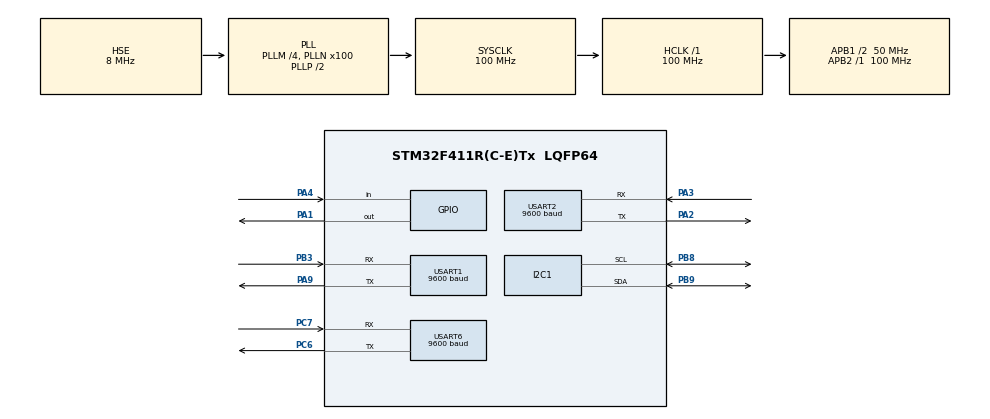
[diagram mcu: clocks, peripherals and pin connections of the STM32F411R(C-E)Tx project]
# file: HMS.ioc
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Mcu.Family=STM32F4
Mcu.Name=STM32F411R(C-E)Tx
Mcu.Package=LQFP64
NVIC.PriorityGroup=NVIC_PRIORITYGROUP_0
NVIC.USART2_IRQn=true\:0\:0\:false\:false\:true\:true\:true
NVIC.USART6_IRQn=true\:0\:0\:false\:false\:true\:true\:true
PA1.Signal=GPIO_Output
PA2.Mode=Asynchronous
PA2.Signal=USART2_TX
PA3.Mode=Asynchronous
PA3.Signal=USART2_RX
PA4.Signal=GPIO_Input
PA9.Mode=Asynchronous
PA9.Signal=USART1_TX
PB3.Mode=Asynchronous
PB3.Signal=USART1_RX
PB8.Mode=I2C
PB8.Signal=I2C1_SCL
PB9.Mode=I2C
PB9.Signal=I2C1_SDA
PC6.Mode=Asynchronous
PC6.Signal=USART6_TX
PC7.Mode=Asynchronous
PC7.Signal=USART6_RX
PH0\ -\ OSC_IN.Mode=HSE-External-Oscillator
PH0\ -\ OSC_IN.Signal=RCC_OSC_IN
PH1\ -\ OSC_OUT.Mode=HSE-External-Oscillator
PH1\ -\ OSC_OUT.Signal=RCC_OSC_OUT
ProjectManager.HeapSize=0x200
ProjectManager.StackSize=0x400
ProjectManager.TargetToolchain=STM32CubeIDE
RCC.48MHZClocksFreq_Value=50000000
RCC.AHBFreq_Value=100000000
RCC.APB1CLKDivider=RCC_HCLK_DIV2
RCC.APB1Freq_Value=50000000
RCC.APB1TimFreq_Value=100000000
RCC.APB2Freq_Value=100000000
RCC.APB2TimFreq_Value=100000000
RCC.CortexFreq_Value=100000000
RCC.FLatency-AdvancedSettings=FLASH_LATENCY_3
RCC.HCLKFreq_Value=100000000
RCC.HSE_VALUE=8000000
RCC.HSI_VALUE=16000000
RCC.LSE_VALUE=32768
RCC.PLLM=4
RCC.PLLN=100
RCC.PLLSourceVirtual=RCC_PLLSOURCE_HSE
RCC.SYSCLKFreq_VALUE=100000000
RCC.SYSCLKSource=RCC_SYSCLKSOURCE_PLLCLK
RCC.VCOOutputFreq_Value=200000000
RTC.Date=4
RTC.Format=RTC_FORMAT_BCD
RTC.Hours=10
RTC.Minutes=30
RTC.Month=RTC_MONTH_NOVEMBER
TIM1.Period=0xffff-1
TIM1.Prescaler=100-1
USART1.BaudRate=9600
USART1.VirtualMode=VM_ASYNC
USART2.BaudRate=9600
USART2.VirtualMode=VM_ASYNC
USART6.BaudRate=9600
USART6.VirtualMode=VM_ASYNC
VP_RTC_VS_RTC_Activate.Mode=RTC_Enabled
VP_RTC_VS_RTC_Calendar.Mode=RTC_Calendar
VP_TIM1_VS_ClockSourceINT.Mode=Internal
board=NUCLEO-F411RE

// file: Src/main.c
/* USER CODE BEGIN Header */
/**
  ******************************************************************************
  * @file           : main.c
  * @brief          : Main program body
  ******************************************************************************
  * @attention
  *
  * <h2><center>&copy; Copyright (c) 2019 STMicroelectronics.
  * All rights reserved.</center></h2>
  *
  * This software component is licensed by ST under BSD 3-Clause license,
  * the "License"; You may not use this file except in compliance with the
  * License. You may obtain a copy of the License at:
  *                        opensource.org/licenses/BSD-3-Clause
  *
  ******************************************************************************
  */
/* USER CODE END Header */

#include "main.h"
#include "ds18b.h"
#include "bmp180.h"
#include "dht22.h"

I2C_HandleTypeDef hi2c1;

RTC_HandleTypeDef hrtc;

TIM_HandleTypeDef htim1;

UART_HandleTypeDef huart1;
UART_HandleTypeDef huart2;
UART_HandleTypeDef huart6;

void SystemClock_Config(void);
static void MX_GPIO_Init(void);
static void MX_USART2_UART_Init(void);
static void MX_I2C1_Init(void);
static void MX_RTC_Init(void);
static void MX_TIM1_Init(void);
static void MX_USART1_UART_Init(void);
static void MX_USART6_UART_Init(void);
/* USER CODE BEGIN PFP */

/*IT IS FOR SENSOR'S DELAY */
void delay(uint16_t delay);

/*RUN FUNCTIONS*/
void run_pulseSensor(void);

/* USER CODE END PFP */

/* USER CODE BEGIN 0 */

/*IT IS FOR DS18B TEMP SENSOR */
GPIO_InitTypeDef GPIO_InitStruct;

/*IT IS FOR PULSE SENSOR*/
uint8_t incomingData[7];
char pulseValue[50];
char weightValue[50];
int lenOfPulseValue = 0;
int lenOfWeightValue = 0;
int pulseRes = 0;
int weightRes = 0;
uint8_t pulseData[3];
uint8_t weightData[3];

uint8_t counter = 0;
/* USER CODE END 0 */

int main(void)
{

  /* MCU Configuration--------------------------------------------------------*/

  /* Reset of all peripherals, Initializes the Flash interface and the Systick. */
  HAL_Init();

  /* Configure the system clock */
  SystemClock_Config();

  /* Initialize all configured peripherals */
  MX_GPIO_Init();
  MX_USART2_UART_Init();
  MX_I2C1_Init();
  MX_RTC_Init();
  MX_TIM1_Init();
  MX_USART1_UART_Init();
  MX_USART6_UART_Init();
  /* USER CODE BEGIN 2 */

  /*Micro Second Timer Start */
  HAL_TIM_Base_Start(&htim1);

  /*Press Sensor Initialize*/
  SetupBMP(hi2c1);
  runDHT22(huart1);
  HAL_Delay(100);
  // Pulse sensor initialize with interrupt
  HAL_UART_Receive_IT(&huart6,incomingData, 7);

  /* USER CODE END 2 */

  /* Infinite loop */
  while (1)
  {

    /* USER CODE BEGIN 3 */

	 /*FOR DS18B SENSOR */
	 runDS18B(GPIO_InitStruct,huart1);
	 HAL_Delay(100);

	 /*FOR PRESS SENSOR */
	 ReadBMP180(hi2c1,huart1);//Read the data from BMP180 sensor
	 HAL_Delay(100);

	 /*FOR DHT22 SENSOR */
	 if(counter >= 25){
		 runDHT22(huart1);
		 HAL_Delay(100);
		 counter = 0;
	 }

  }
  /* USER CODE END 3 */
}

void SystemClock_Config(void)
{
  RCC_OscInitTypeDef RCC_OscInitStruct = {0};
  RCC_ClkInitTypeDef RCC_ClkInitStruct = {0};
  RCC_PeriphCLKInitTypeDef PeriphClkInitStruct = {0};

  /** Configure the main internal regulator output voltage
  */
  __HAL_RCC_PWR_CLK_ENABLE();
  __HAL_PWR_VOLTAGESCALING_CONFIG(PWR_REGULATOR_VOLTAGE_SCALE1);
  /** Initializes the CPU, AHB and APB busses clocks
  */
  RCC_OscInitStruct.OscillatorType = RCC_OSCILLATORTYPE_LSI|RCC_OSCILLATORTYPE_HSE;
  RCC_OscInitStruct.HSEState = RCC_HSE_ON;
  RCC_OscInitStruct.LSIState = RCC_LSI_ON;
  RCC_OscInitStruct.PLL.PLLState = RCC_PLL_ON;
  RCC_OscInitStruct.PLL.PLLSource = RCC_PLLSOURCE_HSE;
  RCC_OscInitStruct.PLL.PLLM = 4;
  RCC_OscInitStruct.PLL.PLLN = 100;
  RCC_OscInitStruct.PLL.PLLP = RCC_PLLP_DIV2;
  RCC_OscInitStruct.PLL.PLLQ = 4;
  if (HAL_RCC_OscConfig(&RCC_OscInitStruct) != HAL_OK)
  {
    Error_Handler();
  }
  /** Initializes the CPU, AHB and APB busses clocks
  */
  RCC_ClkInitStruct.ClockType = RCC_CLOCKTYPE_HCLK|RCC_CLOCKTYPE_SYSCLK
                              |RCC_CLOCKTYPE_PCLK1|RCC_CLOCKTYPE_PCLK2;
  RCC_ClkInitStruct.SYSCLKSource = RCC_SYSCLKSOURCE_PLLCLK;
  RCC_ClkInitStruct.AHBCLKDivider = RCC_SYSCLK_DIV1;
  RCC_ClkInitStruct.APB1CLKDivider = RCC_HCLK_DIV2;
  RCC_ClkInitStruct.APB2CLKDivider = RCC_HCLK_DIV1;

  if (HAL_RCC_ClockConfig(&RCC_ClkInitStruct, FLASH_LATENCY_3) != HAL_OK)
  {
    Error_Handler();
  }
  PeriphClkInitStruct.PeriphClockSelection = RCC_PERIPHCLK_RTC;
  PeriphClkInitStruct.RTCClockSelection = RCC_RTCCLKSOURCE_LSI;
  if (HAL_RCCEx_PeriphCLKConfig(&PeriphClkInitStruct) != HAL_OK)
  {
    Error_Handler();
  }
}

static void MX_I2C1_Init(void)
{

  hi2c1.Instance = I2C1;
  hi2c1.Init.ClockSpeed = 100000;
  hi2c1.Init.DutyCycle = I2C_DUTYCYCLE_2;
  hi2c1.Init.OwnAddress1 = 0;
  hi2c1.Init.AddressingMode = I2C_ADDRESSINGMODE_7BIT;
  hi2c1.Init.DualAddressMode = I2C_DUALADDRESS_DISABLE;
  hi2c1.Init.OwnAddress2 = 0;
  hi2c1.Init.GeneralCallMode = I2C_GENERALCALL_DISABLE;
  hi2c1.Init.NoStretchMode = I2C_NOSTRETCH_DISABLE;
  if (HAL_I2C_Init(&hi2c1) != HAL_OK)
  {
    Error_Handler();
  }

}

static void MX_RTC_Init(void)
{

  RTC_TimeTypeDef sTime = {0};
  RTC_DateTypeDef sDate = {0};

  /** Initialize RTC Only
  */
  hrtc.Instance = RTC;
  hrtc.Init.HourFormat = RTC_HOURFORMAT_24;
  hrtc.Init.AsynchPrediv = 127;
  hrtc.Init.SynchPrediv = 255;
  hrtc.Init.OutPut = RTC_OUTPUT_DISABLE;
  hrtc.Init.OutPutPolarity = RTC_OUTPUT_POLARITY_HIGH;
  hrtc.Init.OutPutType = RTC_OUTPUT_TYPE_OPENDRAIN;
  if (HAL_RTC_Init(&hrtc) != HAL_OK)
  {
    Error_Handler();
  }

  /** Initialize RTC and set the Time and Date
  */
  sTime.Hours = 0x10;
  sTime.Minutes = 0x30;
  sTime.Seconds = 0x0;
  sTime.DayLightSaving = RTC_DAYLIGHTSAVING_NONE;
  sTime.StoreOperation = RTC_STOREOPERATION_RESET;
  if (HAL_RTC_SetTime(&hrtc, &sTime, RTC_FORMAT_BCD) != HAL_OK)
  {
    Error_Handler();
  }
  sDate.WeekDay = RTC_WEEKDAY_MONDAY;
  sDate.Month = RTC_MONTH_NOVEMBER;
  sDate.Date = 0x4;
  sDate.Year = 0x0;

  if (HAL_RTC_SetDate(&hrtc, &sDate, RTC_FORMAT_BCD) != HAL_OK)
  {
    Error_Handler();
  }

}

static void MX_TIM1_Init(void)
{

  TIM_ClockConfigTypeDef sClockSourceConfig = {0};
  TIM_MasterConfigTypeDef sMasterConfig = {0};

  htim1.Instance = TIM1;
  htim1.Init.Prescaler = 100-1;
  htim1.Init.CounterMode = TIM_COUNTERMODE_UP;
  htim1.Init.Period = 0xffff-1;
  htim1.Init.ClockDivision = TIM_CLOCKDIVISION_DIV1;
  htim1.Init.RepetitionCounter = 0;
  htim1.Init.AutoReloadPreload = TIM_AUTORELOAD_PRELOAD_DISABLE;
  if (HAL_TIM_Base_Init(&htim1) != HAL_OK)
  {
    Error_Handler();
  }
  sClockSourceConfig.ClockSource = TIM_CLOCKSOURCE_INTERNAL;
  if (HAL_TIM_ConfigClockSource(&htim1, &sClockSourceConfig) != HAL_OK)
  {
    Error_Handler();
  }
  sMasterConfig.MasterOutputTrigger = TIM_TRGO_RESET;
  sMasterConfig.MasterSlaveMode = TIM_MASTERSLAVEMODE_DISABLE;
  if (HAL_TIMEx_MasterConfigSynchronization(&htim1, &sMasterConfig) != HAL_OK)
  {
    Error_Handler();
  }

}

static void MX_USART1_UART_Init(void)
{

  huart1.Instance = USART1;
  huart1.Init.BaudRate = 9600;
  huart1.Init.WordLength = UART_WORDLENGTH_8B;
  huart1.Init.StopBits = UART_STOPBITS_1;
  huart1.Init.Parity = UART_PARITY_NONE;
  huart1.Init.Mode = UART_MODE_TX_RX;
  huart1.Init.HwFlowCtl = UART_HWCONTROL_NONE;
  huart1.Init.OverSampling = UART_OVERSAMPLING_16;
  if (HAL_UART_Init(&huart1) != HAL_OK)
  {
    Error_Handler();
  }

}

static void MX_USART2_UART_Init(void)
{

  huart2.Instance = USART2;
  huart2.Init.BaudRate = 9600;
  huart2.Init.WordLength = UART_WORDLENGTH_8B;
  huart2.Init.StopBits = UART_STOPBITS_1;
  huart2.Init.Parity = UART_PARITY_NONE;
  huart2.Init.Mode = UART_MODE_TX_RX;
  huart2.Init.HwFlowCtl = UART_HWCONTROL_NONE;
  huart2.Init.OverSampling = UART_OVERSAMPLING_16;
  if (HAL_UART_Init(&huart2) != HAL_OK)
  {
    Error_Handler();
  }

}

static void MX_USART6_UART_Init(void)
{

  huart6.Instance = USART6;
  huart6.Init.BaudRate = 9600;
  huart6.Init.WordLength = UART_WORDLENGTH_8B;
  huart6.Init.StopBits = UART_STOPBITS_1;
  huart6.Init.Parity = UART_PARITY_NONE;
  huart6.Init.Mode = UART_MODE_TX_RX;
  huart6.Init.HwFlowCtl = UART_HWCONTROL_NONE;
  huart6.Init.OverSampling = UART_OVERSAMPLING_16;
  if (HAL_UART_Init(&huart6) != HAL_OK)
  {
    Error_Handler();
  }

}

static void MX_GPIO_Init(void)
{
  GPIO_InitTypeDef GPIO_InitStruct = {0};

  /* GPIO Ports Clock Enable */
  __HAL_RCC_GPIOH_CLK_ENABLE();
  __HAL_RCC_GPIOA_CLK_ENABLE();
  __HAL_RCC_GPIOC_CLK_ENABLE();
  __HAL_RCC_GPIOB_CLK_ENABLE();

  /*Configure GPIO pin Output Level */
  HAL_GPIO_WritePin(GPIOA, GPIO_PIN_1, GPIO_PIN_RESET);

  /*Configure GPIO pin : PA1 */
  GPIO_InitStruct.Pin = GPIO_PIN_1;
  GPIO_InitStruct.Mode = GPIO_MODE_OUTPUT_PP;
  GPIO_InitStruct.Pull = GPIO_NOPULL;
  GPIO_InitStruct.Speed = GPIO_SPEED_FREQ_LOW;
  HAL_GPIO_Init(GPIOA, &GPIO_InitStruct);

  /*Configure GPIO pin : PA4 */
  GPIO_InitStruct.Pin = GPIO_PIN_4;
  GPIO_InitStruct.Mode = GPIO_MODE_INPUT;
  GPIO_InitStruct.Pull = GPIO_NOPULL;
  HAL_GPIO_Init(GPIOA, &GPIO_InitStruct);

}

/* USER CODE BEGIN 4 */
void delay(uint16_t delay){
	__HAL_TIM_SET_COUNTER(&htim1,0);
	while(__HAL_TIM_GET_COUNTER(&htim1) < delay);
}

/*void run_pulseSensor(void)
{
	int i = 0;
	HAL_UART_Receive_IT(&huart6, (uint8_t *)incomingData, 3);
	sscanf(incomingData,"%d", &pulseRes);
	sprintf(pulseValue,"pulse.val=%d%c%c%c%c",pulseRes,0xFF, 0xFF, 0xFF,'\n');

	while(pulseValue[i]!='\n'){
		lenOfPulseValue++;
		++i;
	}
	i=0;
	HAL_UART_Transmit(&huart1,pulseValue,lenOfPulseValue,100);

	lenOfPulseValue=0;
	incomingData[0] = '\000';
	incomingData[1] = '\000';
	incomingData[2] = '\000';

}*/

/*--------------------------------------------------------------------------*/

/*IT IS FOR PULSE SENSOR WITH INTERRUTP*/
void HAL_UART_RxCpltCallback(UART_HandleTypeDef *huart)
{
		int i = 0;
		HAL_UART_Receive_IT(&huart6, incomingData, 7);

		pulseData[0] = incomingData[0];
		pulseData[1] = incomingData[1];
		pulseData[2] = incomingData[2];

		weightData[0] = incomingData[4];
		weightData[1] = incomingData[5];
		weightData[2] = incomingData[6];

		sscanf(pulseData,"%d", &pulseRes);
		sscanf(weightData,"%d",&weightRes);

		//SEND DATA FROM STM32 TO LCD FOR PULSE VALUE
		sprintf(pulseValue,"pulse.val=%d%c%c%c%c",pulseRes,0xFF, 0xFF, 0xFF,'\n');
		while(pulseValue[i]!='\n'){
			lenOfPulseValue++;
			++i;
		}
		i=0;
		HAL_UART_Transmit(&huart1,pulseValue,lenOfPulseValue,20);
		lenOfPulseValue=0;

		//SEND DATA FROM STM32 TO LCD FOR WEIGHT VALUE
		sprintf(weightValue,"weight.val=%d%c%c%c%c",weightRes,0xFF, 0xFF, 0xFF,'\n');
		while(weightValue[i]!='\n'){
			lenOfWeightValue++;
			++i;
		}
		i=0;
		HAL_UART_Transmit(&huart1,weightValue,lenOfWeightValue,20);
		lenOfWeightValue=0;

		incomingData[0] = '\000';
		incomingData[1] = '\000';
		incomingData[2] = '\000';
		incomingData[3] = '\000';
		incomingData[4] = '\000';
		incomingData[5] = '\000';
		incomingData[6] = '\000';

		counter++;
}

/* USER CODE END 4 */

void Error_Handler(void)
{
}

/************************ (C) COPYRIGHT STMicroelectronics *****END OF FILE****/
